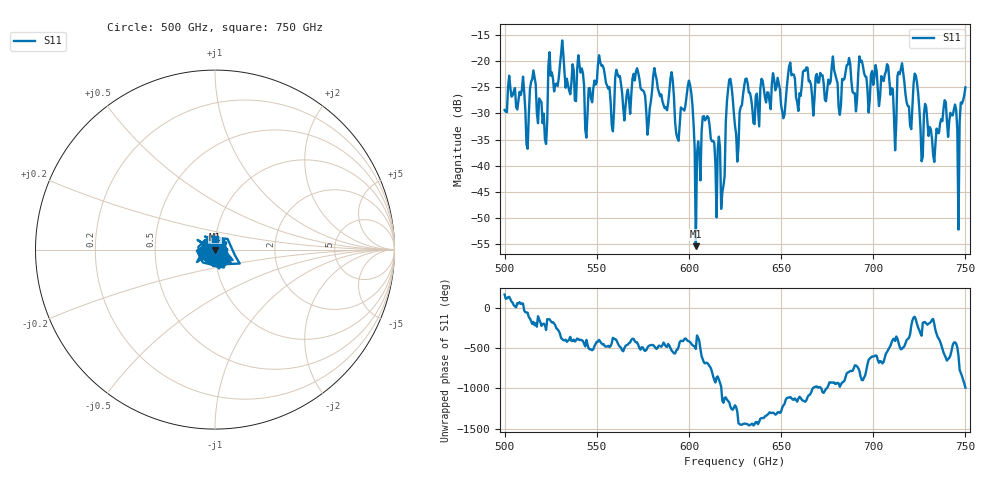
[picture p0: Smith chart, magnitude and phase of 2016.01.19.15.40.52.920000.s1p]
!Created with skrf (http://scikit-rf.org).
# GHz S RI R 50.0
!freq ReS11 ImS11
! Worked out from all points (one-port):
!   401 points, 500 GHz to 750 GHz, reference 50 ohm
!   lowest |S11| = -55.4 dB at 603.8 GHz (marker M1), VSWR 1.00, Z = 49.8 - j0.0771 ohm
!   |S11| at or under -10 dB: start of sweep to end of sweep
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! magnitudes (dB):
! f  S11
! 500 GHz  -29.3
! 512.5 GHz  -36.8
! 515.6 GHz  -21.7
! 521.9 GHz  -34.9
! 525 GHz  -22.7
! 531.2 GHz  -16.0
! 544.4 GHz  -34.6
! 551.9 GHz  -20.2
! 558.1 GHz  -32.2
! 562.5 GHz  -22.8
! 578.1 GHz  -31.9
! 590.6 GHz  -22.1
! 593.8 GHz  -34.7
! 600.6 GHz  -24.5
! 603.8 GHz  -55.4
! 609.4 GHz  -30.9
! 618.1 GHz  -45.0
! 621.9 GHz  -23.5
! 625 GHz  -32.4
! 630.6 GHz  -23.4
! 651.2 GHz  -30.9
! 656.2 GHz  -22.5
! 687.5 GHz  -20.5
! 718.8 GHz  -28.6
! 723.1 GHz  -22.7
! 733.1 GHz  -39.3
! 746.9 GHz  -31.7
! 750 GHz  -25.0
